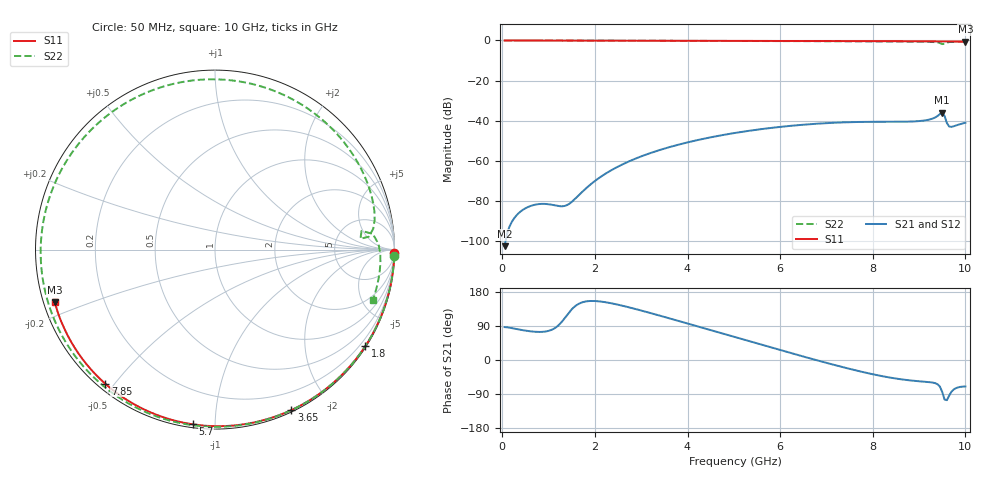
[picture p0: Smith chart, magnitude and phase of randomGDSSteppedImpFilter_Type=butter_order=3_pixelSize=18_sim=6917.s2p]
! freq	dB(S11)	phase(S11)	dB(S12)	phase(S12)
!  dB(S21)	phase(S21)	dB(S22)	phase(S22)
!S-par simulation data
#  GHz  S  DB  R 50
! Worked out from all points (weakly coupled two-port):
!   200 points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, 50 MHz to 10 GHz, reference 50 ohm
!   highest |S21| = -35.97 dB at 9.5 GHz (marker M1); lowest = -102.5 dB at 50 MHz (marker M2)
!   lowest |S11| = -0.5 dB at 10 GHz (marker M3), VSWR 32.02, Z = 1.6 - j7.93 ohm
!   |S11| at or under -10 dB: nowhere
!   |S22| runs from -1.8 to 0.0 dB; largest |S21 - S12| = 0
!   S11 on the Smith chart (normalised r, x): 50 MHz: open; 1.8 GHz: 0.03, -3.41; 3.65 GHz: 0.02, -1.58; 5.7 GHz: 0.02, -0.88; 7.85 GHz: 0.02, -0.47; 10 GHz: 0.03, -0.16
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0.05  -0.00 -0.9  -102.45 86.8  -102.45 86.8  -0.00 -2.0
0.7  -0.01 -12.9  -81.84 74.6  -81.84 74.6  -0.03 -26.8
1.5  -0.03 -27.4  -80.39 133.8  -80.39 133.8  -0.07 -56.3
1.75  -0.04 -31.8  -74.88 153.0  -74.88 153.0  -0.08 -65.2
1.8  -0.04 -32.7  -73.82 154.4  -73.82 154.4  -0.08 -67.0
2.45  -0.06 -44.1  -63.42 147.3  -63.42 147.3  -0.11 -89.3
3.4  -0.08 -60.4  -54.56 117.1  -54.56 117.1  -0.15 -120.2
3.65  -0.09 -64.5  -52.86 108.5  -52.86 108.5  -0.16 -128.0
4.35  -0.11 -76.0  -48.95 84.0  -48.95 84.0  -0.19 -149.8
5.05  -0.13 -87.1  -45.97 59.4  -45.97 59.4  -0.24 -171.8
5.7  -0.16 -97.2  -43.85 36.7  -43.85 36.7  -0.28 167.1
6.2  -0.19 -104.8  -42.58 19.4  -42.58 19.4  -0.32 150.0
6.7  -0.22 -112.3  -41.61 2.4  -41.61 2.4  -0.36 131.8
7.3  -0.26 -121.2  -40.85 -17.2  -40.85 -17.2  -0.42 108.2
7.85  -0.31 -129.3  -40.55 -33.6  -40.55 -33.6  -0.47 84.6
8.35  -0.35 -136.7  -40.51 -45.9  -40.51 -45.9  -0.52 61.4
9.1  -0.43 -147.9  -39.91 -57.1  -39.91 -57.1  -0.66 24.1
9.35  -0.46 -151.7  -38.32 -61.2  -38.32 -61.2  -0.87 10.5
9.5  -0.48 -154.0  -35.97 -84.5  -35.97 -84.5  -1.80 4.3
9.55  -0.48 -154.8  -37.60 -104.2  -37.60 -104.2  -1.69 7.3
9.65  -0.49 -156.4  -42.87 -93.9  -42.87 -93.9  -0.81 2.1
10  -0.54 -162.0  -40.98 -69.9  -40.98 -69.9  -0.69 -17.9
